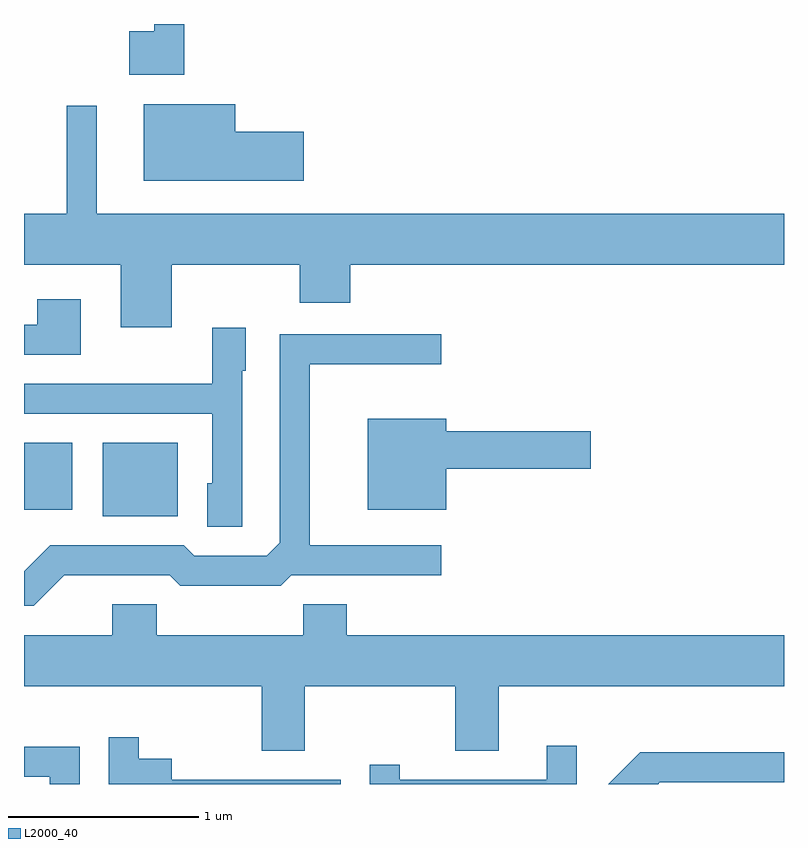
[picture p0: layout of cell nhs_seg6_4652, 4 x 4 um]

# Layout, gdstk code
import gdstk
lib = gdstk.Library(unit=1e-6, precision=1e-09)
def R(c, l, rs):  # rectangles x0, y0, x1, y1
    for r in rs: c.add(gdstk.rectangle(r[:2], r[2:], *l))
def P(c, l, *ps):  # polygons
    for p in ps: c.add(gdstk.Polygon(p, *l))
L2000_40 = (2000, 40)

nhs_seg6_4652 = lib.new_cell('nhs_seg6_4652')
R(nhs_seg6_4652, L2000_40, [(328.026,1577.571,328.419,1577.959), (327.611,1577.606,327.864,1577.959)])
P(nhs_seg6_4652, L2000_40, [(328.454,1580.162),(328.296,1580.162),(328.296,1580.124),(328.166,1580.124),(328.166,1579.896),(328.454,1579.896)],
  [(329.084,1579.594),(328.724,1579.594),(328.724,1579.739),(328.241,1579.739),(328.241,1579.336),(329.084,1579.336)],
  [(328.389,1578.896),(329.061,1578.896),(329.061,1578.696),(329.329,1578.696),(329.329,1578.896),(331.611,1578.896),(331.611,1579.164),(327.994,1579.164),(327.994,1579.733),(327.836,1579.733),(327.836,1579.164),(327.611,1579.164),(327.611,1578.896),(328.121,1578.896),(328.121,1578.566),(328.389,1578.566)],
  [(327.909,1578.714),(327.681,1578.714),(327.681,1578.579),(327.611,1578.579),(327.611,1578.421),(327.909,1578.421)],
  [(328.759,1578.336),(328.779,1578.336),(328.779,1578.564),(328.601,1578.564),(328.601,1578.269),(327.611,1578.269),(327.611,1578.111),(328.601,1578.111),(328.601,1577.744),(328.576,1577.744),(328.576,1577.516),(328.759,1577.516)],
  [(327.822,1577.261),(328.379,1577.261),(328.434,1577.206),(328.962,1577.206),(329.017,1577.261),(329.808,1577.261),(329.808,1577.419),(329.114,1577.419),(329.114,1578.371),(329.808,1578.371),(329.808,1578.529),(328.956,1578.529),(328.956,1577.432),(328.889,1577.364),(328.507,1577.364),(328.452,1577.419),(327.749,1577.419),(327.611,1577.281),(327.611,1577.101),(327.662,1577.101)],
  [(329.834,1577.821),(330.594,1577.821),(330.594,1578.019),(329.834,1578.019),(329.834,1578.084),(329.421,1578.084),(329.421,1577.606),(329.834,1577.606)],
  [(328.861,1576.336),(329.089,1576.336),(329.089,1576.676),(329.881,1576.676),(329.881,1576.336),(330.109,1576.336),(330.109,1576.676),(331.611,1576.676),(331.611,1576.944),(329.309,1576.944),(329.309,1577.109),(329.081,1577.109),(329.081,1576.944),(328.309,1576.944),(328.309,1577.109),(328.076,1577.109),(328.076,1576.944),(327.611,1576.944),(327.611,1576.676),(328.861,1576.676)],
  [(329.279,1576.184),(328.389,1576.184),(328.389,1576.294),(328.214,1576.294),(328.214,1576.408),(328.056,1576.408),(328.056,1576.162),(329.279,1576.162)],
  [(330.519,1576.363),(330.361,1576.363),(330.361,1576.184),(329.589,1576.184),(329.589,1576.263),(329.431,1576.263),(329.431,1576.162),(330.519,1576.162)],
  [(327.904,1576.359),(327.611,1576.359),(327.611,1576.201),(327.746,1576.201),(327.746,1576.162),(327.904,1576.162)],
  [(330.957,1576.171),(331.611,1576.171),(331.611,1576.329),(330.854,1576.329),(330.686,1576.162),(330.948,1576.162)])

lib.write_gds('nhs_seg6_4652.gds')
